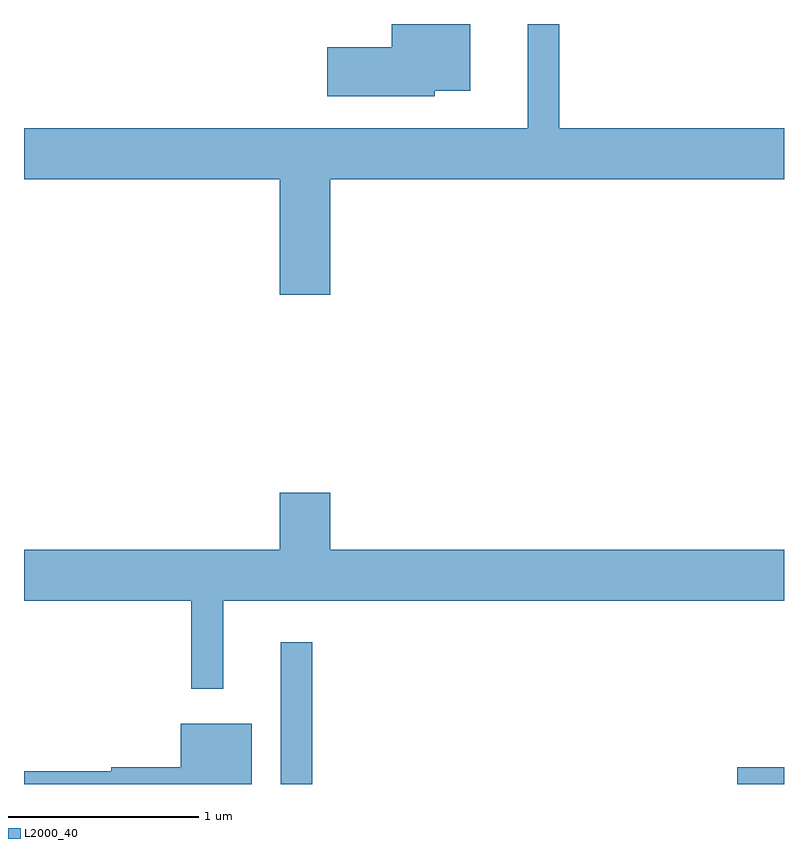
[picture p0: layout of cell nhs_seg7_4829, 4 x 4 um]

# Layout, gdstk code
import gdstk
lib = gdstk.Library(unit=1e-6, precision=1e-09)
def R(c, l, rs):  # rectangles x0, y0, x1, y1
    for r in rs: c.add(gdstk.rectangle(r[:2], r[2:], *l))
def P(c, l, *ps):  # polygons
    for p in ps: c.add(gdstk.Polygon(p, *l))
L2000_40 = (2000, 40)

nhs_seg7_4829 = lib.new_cell('nhs_seg7_4829')
R(nhs_seg7_4829, L2000_40, [(334.961,1702.252,335.129,1702.998), (337.366,1702.252,337.611,1702.339)])
P(nhs_seg7_4829, L2000_40, [(335.224,1705.436),(337.611,1705.436),(337.611,1705.704),(336.429,1705.704),(336.429,1706.252),(336.261,1706.252),(336.261,1705.704),(333.611,1705.704),(333.611,1705.436),(334.956,1705.436),(334.956,1704.826),(335.224,1704.826)],
  [(335.774,1705.901),(335.959,1705.901),(335.959,1706.252),(335.546,1706.252),(335.546,1706.129),(335.206,1706.129),(335.206,1705.871),(335.774,1705.871)],
  [(334.659,1703.216),(337.611,1703.216),(337.611,1703.484),(335.224,1703.484),(335.224,1703.784),(334.956,1703.784),(334.956,1703.484),(333.611,1703.484),(333.611,1703.216),(334.491,1703.216),(334.491,1702.753),(334.659,1702.753)],
  [(334.809,1702.569),(334.436,1702.569),(334.436,1702.339),(334.071,1702.339),(334.071,1702.319),(333.611,1702.319),(333.611,1702.252),(334.809,1702.252)])

lib.write_gds('nhs_seg7_4829.gds')
